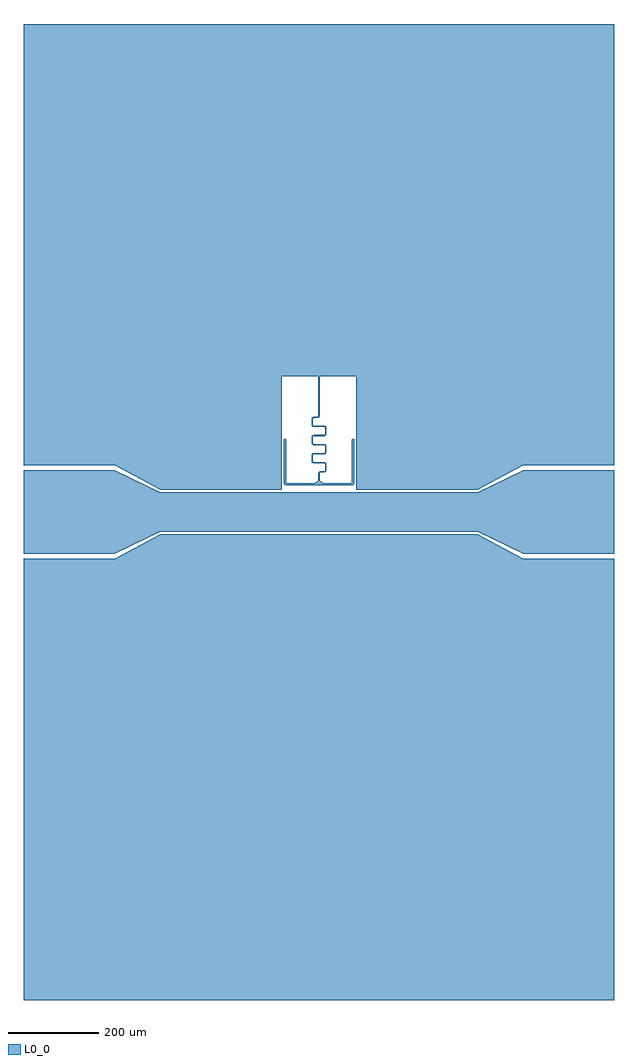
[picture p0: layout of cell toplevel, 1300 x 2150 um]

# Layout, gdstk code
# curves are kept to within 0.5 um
import gdstk
lib = gdstk.Library(unit=1e-6, precision=1e-09)
def P(c, l, *ps):  # polygons
    for p in ps: c.add(gdstk.Polygon(p, *l))
L0_0 = (0, 0)

toplevel = lib.new_cell('toplevel')
P(toplevel, L0_0, [(82.5,298.5),(82.5,48.5),(350,48.5),(450,102.575),(650,102.575),(650,1075),(-650,1075),(-650,102.575),(-450,102.575),(-350,48.5),(-82.5,48.5),(-82.5,298.5)],
  [(650,-1075),(650,-102.575),(450,-102.575),(350,-48.5),(-350,-48.5),(-450,-102.575),(-650,-102.575),(-650,-1075)],
  [(-75.109,160.998),(-76.768,160.268),(-77.498,158.609),(-77.5,65.38),(-76.915,61.9),(-74.998,59.572),(-70.644,58.5),(70.764,58.501),(74.134,59.1),(76.428,61.002),(77.5,65.38),(77.5,158.5),(76.434,160.548),(73.944,160.766),(72.502,158.609),(72.218,63.728),(-70.62,63.5),(-72.244,63.747),(-72.498,65.165),(-72.502,158.609),(-73.311,160.343)],
  [(1.25,68.5),(1.255,84.455),(1.65,86.351),(3.292,87.198),(12.7,87.44),(14.9,88.6),(16.143,91.229),(15.932,106.665),(14.946,108.353),(12.836,109.527),(-11.656,109.796),(-13.171,110.408),(-13.724,112.062),(-13.489,126.073),(-12.904,126.816),(-10.955,127.245),(10.661,127.251),(13.904,127.875),(15.078,128.791),(15.856,130.116),(16.213,131.826),(16.189,145.43),(15.013,148.282),(12.945,149.498),(-11.656,149.796),(-13.156,150.391),(-13.716,151.97),(-13.733,164.788),(-13.489,166.073),(-12.109,167.131),(10.661,167.251),(13.85,167.848),(15.035,168.742),(15.813,170.006),(16.197,171.647),(16.191,185.404),(15.035,188.258),(12.945,189.498),(-11.62,189.792),(-13.117,190.352),(-13.7,191.809),(-13.743,204.555),(-13.253,206.494),(-11.566,207.213),(-1.781,207.586),(0.222,208.965),(1.163,211.361),(1.25,298.5),(-1.25,298.5),(-1.314,211.705),(-1.769,210.478),(-2.752,209.903),(-12.244,209.647),(-14.012,209.067),(-15.279,207.959),(-16.23,204.923),(-16.183,191.518),(-15.779,189.923),(-14.991,188.694),(-13.822,187.834),(-12.297,187.361),(10.955,187.245),(12.904,186.816),(13.489,186.073),(13.733,184.788),(13.709,171.898),(13.14,170.375),(11.638,169.794),(-11.203,169.739),(-14.304,168.888),(-15.581,167.485),(-16.189,165.43),(-16.206,151.75),(-15.845,150.088),(-15.057,148.766),(-13.877,147.861),(-12.351,147.37),(10.955,147.245),(12.904,146.816),(13.489,146.073),(13.733,144.788),(13.721,132.025),(13.163,130.399),(11.656,129.796),(-11.154,129.741),(-14.198,128.956),(-15.521,127.592),(-16.17,125.586),(-16.25,113.175),(-16.095,110.962),(-15.489,109.355),(-14.382,108.165),(-12.782,107.459),(11.326,107.231),(12.829,106.863),(13.545,105.923),(13.746,92.585),(13.253,90.506),(11.53,89.784),(2.191,89.534),(0.315,88.6),(-0.824,86.967),(-1.244,84.534),(-1.25,68.5)],
  [(10,63.5),(1.25,68.5),(-1.25,68.5),(-10,63.5)],
  [(-350,43.5),(-450,92),(-650,92),(-650,-92),(-450,-92),(-350,-43.5),(350,-43.5),(450,-92),(650,-92),(650,92),(450,92),(350,43.5)])

lib.write_gds('toplevel.gds')
